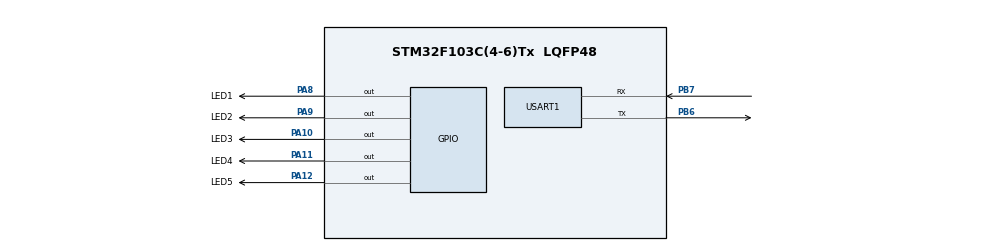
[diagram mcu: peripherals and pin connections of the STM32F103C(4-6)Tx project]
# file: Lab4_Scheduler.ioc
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Mcu.Family=STM32F1
Mcu.Name=STM32F103C(4-6)Tx
Mcu.Package=LQFP48
NVIC.PriorityGroup=NVIC_PRIORITYGROUP_4
NVIC.TIM2_IRQn=true\:0\:0\:false\:false\:true\:true\:true\:true
PA10.GPIO_Label=LED3
PA10.Signal=GPIO_Output
PA11.GPIO_Label=LED4
PA11.Signal=GPIO_Output
PA12.GPIO_Label=LED5
PA12.Signal=GPIO_Output
PA8.GPIO_Label=LED1
PA8.Signal=GPIO_Output
PA9.GPIO_Label=LED2
PA9.Signal=GPIO_Output
PB6.Mode=Asynchronous
PB6.Signal=USART1_TX
PB7.Mode=Asynchronous
PB7.Signal=USART1_RX
ProjectManager.HeapSize=0x200
ProjectManager.StackSize=0x400
ProjectManager.TargetToolchain=STM32CubeIDE
RCC.APB1Freq_Value=8000000
RCC.APB2Freq_Value=8000000
TIM2.Period=9
TIM2.Prescaler=7999
USART1.VirtualMode=VM_ASYNC
VP_SYS_VS_ND.Mode=No_Debug
VP_TIM2_VS_ClockSourceINT.Mode=Internal
board=custom

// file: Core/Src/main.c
/* USER CODE BEGIN Header */
/**
  ******************************************************************************
  * @file           : main.c
  * @brief          : Main program body
  ******************************************************************************
  * @attention
  *
  * Copyright (c) 2024 STMicroelectronics.
  * All rights reserved.
  *
  * This software is licensed under terms that can be found in the LICENSE file
  * in the root directory of this software component.
  * If no LICENSE file comes with this software, it is provided AS-IS.
  *
  ******************************************************************************
  */
/* USER CODE END Header */
#include "main.h"

/* USER CODE BEGIN Includes */
#include "scheduler.h"
#include <stdio.h>  // Thư viện cho printf
#include "usart.h"  // Thư viện USART đã được tạo ra từ CubeMX
#include <stddef.h>

  extern int global_tick_count;  // Cập nhật tổng số tick

/* USER CODE END Includes */

TIM_HandleTypeDef htim2;

UART_HandleTypeDef huart1;

void SystemClock_Config(void);
static void MX_GPIO_Init(void);
static void MX_TIM2_Init(void);
static void MX_USART1_UART_Init(void);

int __io_putchar(int ch) {
    HAL_UART_Transmit(&huart1, (uint8_t *)&ch, 1, HAL_MAX_DELAY);
    return ch;
}

void LED1(void) {
	HAL_GPIO_TogglePin(GPIOA, LED1_Pin);

}
void LED2(void) {
	HAL_GPIO_TogglePin(GPIOA, LED2_Pin);
}
void LED3(void) {
	HAL_GPIO_TogglePin(GPIOA, LED3_Pin);
}
void LED4(void) {
	HAL_GPIO_TogglePin(GPIOA, LED4_Pin);
}
void LED5(void) {
	HAL_GPIO_TogglePin(GPIOA, LED5_Pin);
//    uint32_t current_time = get_time();  // Lấy thời gian hiện tại
//    printf("LED5 Time: %lu ms\n\r", current_time);  // In giá trị thời gian ra UART
}

int main(void)
{

  /* MCU Configuration--------------------------------------------------------*/

  /* Reset of all peripherals, Initializes the Flash interface and the Systick. */
  HAL_Init();

  /* Configure the system clock */
  SystemClock_Config();

  /* Initialize all configured peripherals */
  MX_GPIO_Init();
  MX_TIM2_Init();
  MX_USART1_UART_Init();
  /* USER CODE BEGIN 2 */
  HAL_TIM_Base_Start_IT(&htim2);
  /* USER CODE END 2 */

  /* Infinite loop */
  /* USER CODE BEGIN WHILE */

  SCH_Init();

  SCH_Add_Task(LED1, 500, 500);   		//task0
  SCH_Add_Task(LED2, 1000, 1000);		//task1
  SCH_Add_Task(LED3, 1500, 0);			//task2 delete
  SCH_Add_Task(LED4, 2000, 2000);		//task3
  SCH_Add_Task(LED5, 2500, 2500);		//task4

  while (1)
  {
	  SCH_Dispatch_Tasks();

    /* USER CODE END WHILE */

  }
}

void SystemClock_Config(void)
{
  RCC_OscInitTypeDef RCC_OscInitStruct = {0};
  RCC_ClkInitTypeDef RCC_ClkInitStruct = {0};

  /** Initializes the RCC Oscillators according to the specified parameters
  * in the RCC_OscInitTypeDef structure.
  */
  RCC_OscInitStruct.OscillatorType = RCC_OSCILLATORTYPE_HSI;
  RCC_OscInitStruct.HSIState = RCC_HSI_ON;
  RCC_OscInitStruct.HSICalibrationValue = RCC_HSICALIBRATION_DEFAULT;
  RCC_OscInitStruct.PLL.PLLState = RCC_PLL_NONE;
  if (HAL_RCC_OscConfig(&RCC_OscInitStruct) != HAL_OK)
  {
    Error_Handler();
  }

  /** Initializes the CPU, AHB and APB buses clocks
  */
  RCC_ClkInitStruct.ClockType = RCC_CLOCKTYPE_HCLK|RCC_CLOCKTYPE_SYSCLK
                              |RCC_CLOCKTYPE_PCLK1|RCC_CLOCKTYPE_PCLK2;
  RCC_ClkInitStruct.SYSCLKSource = RCC_SYSCLKSOURCE_HSI;
  RCC_ClkInitStruct.AHBCLKDivider = RCC_SYSCLK_DIV1;
  RCC_ClkInitStruct.APB1CLKDivider = RCC_HCLK_DIV1;
  RCC_ClkInitStruct.APB2CLKDivider = RCC_HCLK_DIV1;

  if (HAL_RCC_ClockConfig(&RCC_ClkInitStruct, FLASH_LATENCY_0) != HAL_OK)
  {
    Error_Handler();
  }
}

static void MX_TIM2_Init(void)
{

  TIM_ClockConfigTypeDef sClockSourceConfig = {0};
  TIM_MasterConfigTypeDef sMasterConfig = {0};

  htim2.Instance = TIM2;
  htim2.Init.Prescaler = 7999;
  htim2.Init.CounterMode = TIM_COUNTERMODE_UP;
  htim2.Init.Period = 9;
  htim2.Init.ClockDivision = TIM_CLOCKDIVISION_DIV1;
  htim2.Init.AutoReloadPreload = TIM_AUTORELOAD_PRELOAD_DISABLE;
  if (HAL_TIM_Base_Init(&htim2) != HAL_OK)
  {
    Error_Handler();
  }
  sClockSourceConfig.ClockSource = TIM_CLOCKSOURCE_INTERNAL;
  if (HAL_TIM_ConfigClockSource(&htim2, &sClockSourceConfig) != HAL_OK)
  {
    Error_Handler();
  }
  sMasterConfig.MasterOutputTrigger = TIM_TRGO_RESET;
  sMasterConfig.MasterSlaveMode = TIM_MASTERSLAVEMODE_DISABLE;
  if (HAL_TIMEx_MasterConfigSynchronization(&htim2, &sMasterConfig) != HAL_OK)
  {
    Error_Handler();
  }

}

static void MX_USART1_UART_Init(void)
{

  huart1.Instance = USART1;
  huart1.Init.BaudRate = 57600;
  huart1.Init.WordLength = UART_WORDLENGTH_8B;
  huart1.Init.StopBits = UART_STOPBITS_1;
  huart1.Init.Parity = UART_PARITY_NONE;
  huart1.Init.Mode = UART_MODE_TX_RX;
  huart1.Init.HwFlowCtl = UART_HWCONTROL_NONE;
  huart1.Init.OverSampling = UART_OVERSAMPLING_16;
  if (HAL_UART_Init(&huart1) != HAL_OK)
  {
    Error_Handler();
  }

}

static void MX_GPIO_Init(void)
{
  GPIO_InitTypeDef GPIO_InitStruct = {0};

  /* GPIO Ports Clock Enable */
  __HAL_RCC_GPIOA_CLK_ENABLE();
  __HAL_RCC_GPIOB_CLK_ENABLE();

  /*Configure GPIO pin Output Level */
  HAL_GPIO_WritePin(GPIOA, LED1_Pin|LED2_Pin|LED3_Pin|LED4_Pin
                          |LED5_Pin, GPIO_PIN_RESET);

  /*Configure GPIO pins : LED1_Pin LED2_Pin LED3_Pin LED4_Pin
                           LED5_Pin */
  GPIO_InitStruct.Pin = LED1_Pin|LED2_Pin|LED3_Pin|LED4_Pin
                          |LED5_Pin;
  GPIO_InitStruct.Mode = GPIO_MODE_OUTPUT_PP;
  GPIO_InitStruct.Pull = GPIO_NOPULL;
  GPIO_InitStruct.Speed = GPIO_SPEED_FREQ_LOW;
  HAL_GPIO_Init(GPIOA, &GPIO_InitStruct);

}

/* USER CODE BEGIN 4 */
void HAL_TIM_PeriodElapsedCallback(TIM_HandleTypeDef *htim){
	SCH_Update();
//    global_tick_count++;  // Cập nhật tổng số tick

 }
/* USER CODE END 4 */

void Error_Handler(void)
{
  __disable_irq();
  while (1)
  {
  }
}
